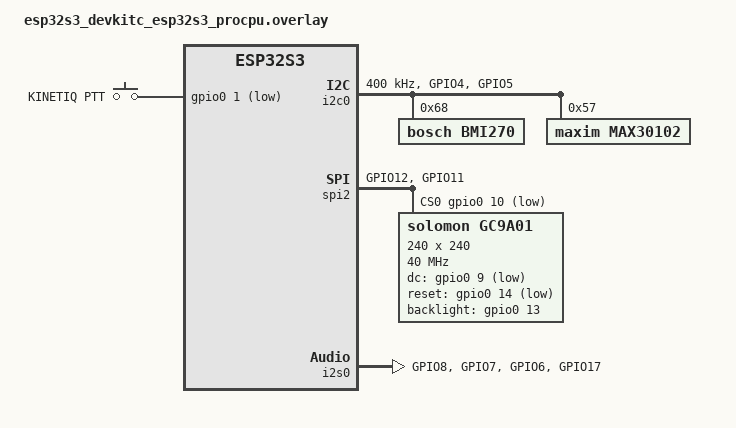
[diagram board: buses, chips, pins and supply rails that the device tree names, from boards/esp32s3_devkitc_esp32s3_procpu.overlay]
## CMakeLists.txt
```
cmake_minimum_required(VERSION 3.20.0)
find_package(Zephyr REQUIRED HINTS $ENV{ZEPHYR_BASE})
project(kinetiq_firmware)
target_sources(app PRIVATE src/main.c src/button_fsm.c src/activity_engine.c src/display_engine.c src/ble_transport.c src/sensor_imu.c src/sensor_ppg.c)
```

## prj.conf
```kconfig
# KINETIQ firmware configuration — Zephyr on ESP32-S3-DevKitC-1

# Core kernel + logging (CBPRINTF_FP_SUPPORT is required for the %.2f float
# field in the telemetry JSON emitted by comm_thread).
CONFIG_LOG=y
CONFIG_MULTITHREADING=y
CONFIG_CBPRINTF_FP_SUPPORT=y

# Peripheral drivers used by the wearable sensor suite.
CONFIG_GPIO=y
CONFIG_I2C=y
CONFIG_SPI=y

# BLE NUS telemetry (peripheral streaming JSON frames to the laptop client).
CONFIG_BT=y # enable the Bluetooth host stack
CONFIG_BT_PERIPHERAL=y # advertise + accept one GATT connection as a peripheral
CONFIG_BT_DEVICE_NAME="KINETIQ" # advertised name the laptop scans for
CONFIG_BT_L2CAP_TX_MTU=252 # allow full-length L2CAP payloads for fewer chunks
CONFIG_BT_BUF_ACL_TX_SIZE=256 # TX ACL buffers sized to the L2CAP MTU above
CONFIG_BT_BUF_ACL_RX_SIZE=256 # RX ACL buffers sized for laptop downlink writes
CONFIG_BT_MAX_CONN=1 # single laptop peer only, keeps RAM use minimal
```

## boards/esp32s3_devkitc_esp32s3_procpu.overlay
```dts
/*
 * KINETIQ — ESP32-S3-DevKitC-1 / ESP32-S3-WROOM-1-N16R8 devicetree overlay
 * Target: ESP32-S3-DevKitC-1 (n16r8), Zephyr `esp32s3_devkitc_n16r8`
 *
 * ---------------------------------------------------------------------------
 * PIN MAP (FROZEN §11.2 freeze)
 * ---------------------------------------------------------------------------
 *   I2C0  (400 kHz, 4k7 external pull-ups, shared bus)
 *     SDA = GPIO4
 *     SCL = GPIO5
 *     BMI270  IMU   @ 0x68  (polled acquisition, no IRQ line)
 *     MAX30102 PPG  @ 0x57  (polled acquisition, no IRQ line)
 *
 *   SPI2  (display bus, 40 MHz)
 *     SCK = GPIO12   (FSPI clock)
 *     MOSI = GPIO11  (FSPI data to panel)
 *     CS  = GPIO10   (active low, via cs-gpios, not pinctrl)
 *     DC  = GPIO9    (active low: command/data select, plain GPIO)
 *     RST = GPIO14   (active low, panel reset, plain GPIO)
 *     BL  = GPIO13   (active high backlight enable, plain GPIO)
 *
 *   I2S0  (future W4 audio pair: INMP441 mic + MAX98357 amp, unused by SW)
 *     BCK   = GPIO8   (bit clock)
 *     WS    = GPIO7   (word select / LR clock)
 *     RX_SD = GPIO6   (mic data in)
 *     TX_SD = GPIO17  (amp data out)
 *
 *   Direct GPIO
 *     KINETIQ PTT button = GPIO1 (active low, internal pull-up, gpio-keys)
 *
 * ---------------------------------------------------------------------------
 * CONSTRAINT AUDIT
 * ---------------------------------------------------------------------------
 *   Constraint audit: pins used are 1, 4, 5, 6, 7, 8, 9, 10, 11, 12,
 *   13, 14, 17 - none are strapping (0, 3, 45, 46), USB (19, 20),
 *   flash/PSRAM (26 to 32), or octal (33 to 37).
 *   Freed by this remap: 15, 16, 21, 47 (GPIO4/5 reassigned from INT to I2C).
 *   NOTE: differs from FINAL_BREAKDOWN.md §11.2 prose where the prose still
 *   shows the older draft pins; this freeze section is authoritative.
 * ---------------------------------------------------------------------------
 */

/* I2C0 pinmux: SDA = GPIO4, SCL = GPIO5, open-drain with internal pull-up
 * enabled in addition to the 4k7 discrete pull-ups on the shared bus.
 */
&pinctrl {
	i2c0_default: i2c0_default {
		group-index = <0>;
		drive-open-drain;
		bias-pull-up;
		pins = "GPIO4", "GPIO5";
	};

	i2c0_sleep: i2c0_sleep {
		group-index = <0>;
		drive-open-drain;
		bias-pull-up;
		lpsr-capable;
		sleep-pin-in-suspend;
		pins = "GPIO4", "GPIO5";
	};

	/* SPI2 pinmux: hardware SPI pins only, SCK(GPIO12), MOSI(GPIO11).
	 * CS(GPIO10) is handled by cs-gpios, DC/RST/BL are plain GPIOs, so
	 * they stay out of pinctrl.
	 */
	spi2_default: spi2_default {
		group-index = <1>;
		slew-rate;
		pins = "GPIO12", "GPIO11";
	};

	spi2_sleep: spi2_sleep {
		group-index = <1>;
		lpsr-capable;
		sleep-pin-in-suspend;
		pins = "GPIO12", "GPIO11";
	};

	/* I2S0 pinmux: BCK(GPIO8), WS(GPIO7), RX_SD(GPIO6, mic data in),
	 * TX_SD(GPIO17, amp data out). Reserved for the W4 audio pair;
	 * no software thread uses I2S yet.
	 */
	i2s0_default: i2s0_default {
		group-index = <2>;
		pins = "GPIO8", "GPIO7", "GPIO6", "GPIO17";
	};

	i2s0_sleep: i2s0_sleep {
		group-index = <2>;
		lpsr-capable;
		sleep-pin-in-suspend;
		pins = "GPIO8", "GPIO7", "GPIO6", "GPIO17";
	};
};

/* I2C0 controller: SDA = GPIO4, SCL = GPIO5 @ 400 kHz (I2C_BITRATE_FAST). */
&i2c0 {
	status = "okay";
	clock-frequency = <I2C_BITRATE_FAST>;

	pinctrl-0 = <&i2c0_default>;
	pinctrl-1 = <&i2c0_sleep>;
	pinctrl-names = "default", "sleep";

	/* Bosch BMI270 6-axis IMU (accel + gyro), 400 kHz shared bus.
	 * Polled acquisition: GPIO4 is now SDA so there is no interrupt line.
	 */
	bmi270: bmi270@68 {
		compatible = "bosch,bmi270";
		reg = <0x68>;
		label = "BMI270";
	};

	/* Maxim MAX30102 dual-LED PPG (red + IR), still-only SpO2 estimate.
	 * Polled acquisition: GPIO5 is now SCL so there is no interrupt line.
	 */
	max30102: max30102@57 {
		compatible = "maxim,max30102";
		reg = <0x57>;
		label = "MAX30102";
	};
};

/* SPI2 controller: SCK = GPIO12, MOSI = GPIO11, CS = GPIO10 @ 40 MHz. */
&spi2 {
	status = "okay";
	clock-frequency = <SPI_CLOCK_DIV2>;
	cs-gpios = <&gpio0 10 GPIO_ACTIVE_LOW>;

	pinctrl-0 = <&spi2_default>;
	pinctrl-1 = <&spi2_sleep>;
	pinctrl-names = "default", "sleep";

	/* Solomon Systech GC9A01 240x240 round IPS panel. */
	gc9a01: gc9a01@0 {
		compatible = "solomon,gc9a01";
		reg = <0>;
		spi-max-frequency = <40000000>;

		width = <240>;
		height = <240>;
		round;
		rotate = <0>;

		dc-gpios = <&gpio0 9 GPIO_ACTIVE_LOW>;
		reset-gpios = <&gpio0 14 GPIO_ACTIVE_LOW>;

		/*
		 * Backlight is a plain active-high GPIO on GPIO13, driven
		 * from firmware (display_dim()/display_wake()).
		 */
		backlight-gpios = <&gpio0 13 GPIO_ACTIVE_HIGH>;
	};
};

/* I2S0 controller: BCK = GPIO8, WS = GPIO7, RX_SD = GPIO6, TX_SD = GPIO17.
 * Pinned out for the future W4 INMP441/MAX98357 audio pair; nothing in
 * software configures or streams I2S yet.
 */
&i2s0 {
	status = "okay";

	pinctrl-0 = <&i2s0_default>;
	pinctrl-1 = <&i2s0_sleep>;
	pinctrl-names = "default", "sleep";
};

/* User button on GPIO1 via gpio-keys so GPIO_DT_SPEC_GET on
 * DT_NODELABEL(kinetiq_button) resolves in firmware.
 */
{
	buttons {
		compatible = "gpio-keys";
		kinetiq_button: kinetiq_button {
			gpios = <&gpio0 1 (GPIO_ACTIVE_LOW | GPIO_PULL_UP)>;
			label = "KINETIQ PTT";
		};
	};
};
```

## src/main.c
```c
/*
 * KINETIQ firmware - Zephyr application for the ESP32-S3 wearable.
 *
 * Sense     : imu_thread (100 Hz, BMI270) + ppg_thread (50 Hz, MAX30102)
 * Process   : k_msgq sample bus feeding infer_thread
 * Infer     : activity_engine classifier (REST/WALK/RUN) + exertion + PPG quality gate
 * Communicate: comm_thread (1 Hz) emitting the locked telemetry JSON
 *             over BLE NUS notify (newline-framed) with the UART LOG_INF
 *             line kept as the debug fallback when no peer is connected
 * UI        : button_thread (100 Hz) polling button_fsm for PTT events;
 *             display_engine owns the canonical screen state plus the
 *             240x240 round GC9A01 ASCII-grid preview (short-press cycles it,
 *             infer_thread feeds it telemetry, button long-press drives PTT)
 *
 * Sense HAL  : sensor_imu / sensor_ppg dual-mode wrappers: real BMI270 /
 *             MAX30102 hardware when the devicetree nodes probe, otherwise
 *             the synthetic fallback generators (same waveforms as before).
 */

#include <zephyr/kernel.h>
#include <zephyr/devicetree.h>
#include <zephyr/drivers/gpio.h>
#include <zephyr/sys/printk.h>
#include <zephyr/logging/log.h>
#include <zephyr/sys/util.h>
#include <math.h>
#include <stdio.h>
#include <string.h>

#include "sensor_packet.h"
#include "sensor_imu.h"
#include "sensor_ppg.h"
#include "button_fsm.h"
#include "activity_engine.h"
#include "display_engine.h"
#include "ble_transport.h"

LOG_MODULE_REGISTER(kinetiq, LOG_LEVEL_INF);

#define PI_F 3.14159265358979323846f

/* Fixed epoch base so the emitted "timestamp" is a unix-like wall clock value. */
#define KINETIQ_EPOCH_BASE_S 1750000000LL

/* Sample rates (ms). */
#define IMU_PERIOD_MS 10
#define PPG_PERIOD_MS 20
#define COMM_PERIOD_MS 1000

/* Thread priorities - distinct, sensor capture highest, comm lowest. */
#define IMU_PRIO 5
#define PPG_PRIO 6
#define INFER_PRIO 7
#define BUTTON_PRIO 8
#define COMM_PRIO 9

#define THREAD_STACK_SIZE 2048
#define BUTTON_STACK_SIZE 1024
#define BUTTON_PERIOD_MS 10

/* Synthetic PPG waveform operating point (raw MAX30102-ish ADC counts). */
#define PPG_RED_DC 40000.0f
#define PPG_RED_AC 9000.0f
#define PPG_IR_DC 38000.0f
#define PPG_IR_AC 6500.0f
#define PPG_NOMINAL_BPM 72.0f

/* PPG quality gate thresholds (photodiode signal floor). */
#define PPG_RED_FLOOR 39500.0f
#define PPG_IR_FLOOR 37500.0f

/* Step detector refractory window. */
#define STEP_REFRACTORY_MS 250

struct shared_state {
	int64_t timestamp_ms;
	uint16_t heart_rate;
	uint16_t spo2;
	uint32_t steps;
	uint8_t quality;
	char activity[12];
	char exertion[12];
	float motion_intensity;
};

K_MSGQ_DEFINE(sensor_msgq, sizeof(sensor_packet_t), 10, 4);
K_MUTEX_DEFINE(state_mutex);

static struct shared_state current_state = {
	.timestamp_ms = 0,
	.heart_rate = 72,
	.spo2 = 97,
	.steps = 0,
	.quality = 0,
	.activity = "REST",
	.exertion = "REST",
	.motion_intensity = 0.0f,
};

static atomic_t g_steps = ATOMIC_INIT(0);
static atomic_t g_dropped_packets = ATOMIC_INIT(0);
static atomic_t g_processed_packets = ATOMIC_INIT(0);

/* Cadence detector state (imu_thread only, plus read-only snapshots). */
static float g_vert_filtered;
static float g_prev_slope;
static int64_t g_last_step_ms;

static void imu_thread(void *a, void *b, void *c);
static void ppg_thread(void *a, void *b, void *c);
static void infer_thread(void *a, void *b, void *c);
static void comm_thread(void *a, void *b, void *c);
static void button_thread(void *a, void *b, void *c);

K_THREAD_STACK_DEFINE(imu_stack, THREAD_STACK_SIZE);
K_THREAD_STACK_DEFINE(ppg_stack, THREAD_STACK_SIZE);
K_THREAD_STACK_DEFINE(infer_stack, THREAD_STACK_SIZE);
K_THREAD_STACK_DEFINE(comm_stack, THREAD_STACK_SIZE);
K_THREAD_STACK_DEFINE(button_stack, BUTTON_STACK_SIZE);

static struct k_thread imu_tid;
static struct k_thread ppg_tid;
static struct k_thread infer_tid;
static struct k_thread comm_tid;
static struct k_thread button_tid;

static button_fsm_t g_button;
static bool s_ptt_active = false;

static void on_laptop_rx(const uint8_t *data, size_t len)
{
	char excerpt[65];
	size_t shown = len > 64U ? 64U : len;
	size_t i;

	for (i = 0; i < shown; i++) {
		uint8_t ch = data[i];

		excerpt[i] = (ch >= 32U && ch < 127U) ? (char)ch : '.';
	}
	excerpt[shown] = '\0';
	LOG_INF("laptop rx %u byte(s): %s%s (assistant audio/commands landing point, PTT downlink wired in W4)",
		(unsigned int)len, excerpt, len > 64U ? "..." : "");
}

static void queue_packet(sensor_packet_t *pkt)
{
	int rc = k_msgq_put(&sensor_msgq, pkt, K_NO_WAIT);

	if (rc != 0) {
		int dropped = atomic_inc(&g_dropped_packets);

		if ((dropped % 25) == 0) {
			LOG_WRN("sensor_msgq full, dropped %d packet(s) total", dropped);
		}
	}
}

/* Zero-crossing cadence stub: counts one step per upward swing of the
 * vertical acceleration axis with a refractory window and an amplitude gate.
 */
static int cadence_detect(float accel_z, int64_t now_ms)
{
	float slope = accel_z - 9.81f;
	float prev = g_prev_slope;

	g_vert_filtered = (0.85f * g_vert_filtered) + (0.15f * slope);
	g_prev_slope = g_vert_filtered;

	if (g_last_step_ms == 0) {
		g_last_step_ms = now_ms;
		return 0;
	}

	if (prev <= 0.0f && g_vert_filtered > 0.80f &&
	    (now_ms - g_last_step_ms) >= STEP_REFRACTORY_MS) {
		g_last_step_ms = now_ms;
		return 1;
	}

	return 0;
}

static void imu_thread(void *a, void *b, void *c)
{
	ARG_UNUSED(a);
	ARG_UNUSED(b);
	ARG_UNUSED(c);

	sensor_packet_t pkt;
	float accel[3];
	float gyro[3];

	LOG_INF("imu_thread up: 100 Hz BMI270 stream (%s)",
		sensor_imu_is_hardware_active() ? "hardware" : "synthetic fallback");

	while (1) {
		sensor_imu_fetch(accel, gyro);

		int64_t now_ms = k_uptime_get();

		if (cadence_detect(accel[2], now_ms) != 0) {
			atomic_inc(&g_steps);
		}

		memset(&pkt, 0, sizeof(pkt));
		pkt.timestamp_ms = now_ms;
		pkt.accel_x = accel[0];
		pkt.accel_y = accel[1];
		pkt.accel_z = accel[2];
		pkt.gyro_x = gyro[0];
		pkt.gyro_y = gyro[1];
		pkt.gyro_z = gyro[2];
		pkt.steps = (uint32_t)atomic_get(&g_steps);
		pkt.quality = 0;
		pkt.activity = NULL;
		pkt.exertion = NULL;

		queue_packet(&pkt);

		k_msleep(IMU_PERIOD_MS);
	}
}

static void ppg_thread(void *a, void *b, void *c)
{
	ARG_UNUSED(a);
	ARG_UNUSED(b);
	ARG_UNUSED(c);

	sensor_packet_t pkt;

	LOG_INF("ppg_thread up: 50 Hz MAX30102 stream (%s)",
		sensor_ppg_is_hardware_active() ? "hardware" : "synthetic fallback");

	while (1) {
		uint32_t raw_red = 0;
		uint32_t raw_ir = 0;
		uint8_t hr = 72;
		uint8_t spo2 = 97;
		bool quality = true;

		sensor_ppg_fetch(&raw_red, &raw_ir, &hr, &spo2, &quality);
		/* Telemetry schema carries no SpO2-from-PPG field yet; the
		 * infer/comm path keeps the constant 97. Drop is explicit. */
		(void)spo2;

		/* ppg_red is uint16_t: raw counts can exceed 65535, clamp. */
		uint16_t pkt_red = raw_red > 65535U ? 65535U : (uint16_t)raw_red;

		memset(&pkt, 0, sizeof(pkt));
		pkt.timestamp_ms = k_uptime_get();
		pkt.ppg_red = pkt_red;
		pkt.ppg_ir = raw_ir;
		pkt.heart_rate = (uint16_t)hr;
		pkt.steps = (uint32_t)atomic_get(&g_steps);
		pkt.quality = quality ? 1 : 0;
		pkt.activity = NULL;
		pkt.exertion = NULL;

		queue_packet(&pkt);

		k_msleep(PPG_PERIOD_MS);
	}
}

static char s_display_grid[DISPLAY_GRID_MIN_LEN];

/* Compact preview policy: one LOG_INF summary per event plus the full
 * 240-row grid at LOG_DBG in 30-row chunks, so frequent telemetry updates
 * stay readable while debug sessions still get every cell. The grid buffer
 * is file-scope BSS (57 KB), never thread stack. Chunk logging borrows a
 * save/restore NUL trick on the grid itself to avoid a second big buffer.
 */
static void log_display_preview(const char *why)
{
	struct shared_state snap;

	display_engine_render_ascii(s_display_grid, sizeof(s_display_grid));

	k_mutex_lock(&state_mutex, K_FOREVER);
	snap = current_state;
	k_mutex_unlock(&state_mutex);

	LOG_INF("display preview (%s): screen=%s ptt=%d hr=%u steps=%u act=%s ex=%s qual=%s",
		why,
		display_engine_screen_name(display_engine_current_screen()),
		(int)s_ptt_active,
		(unsigned int)snap.heart_rate,
		(unsigned int)snap.steps,
		snap.activity,
		snap.exertion,
		(snap.quality != 0U) ? "good" : "poor");

	for (int base = 0; base < DISPLAY_HEIGHT; base += 30) {
		size_t off = (size_t)base * ((size_t)DISPLAY_WIDTH + 1U);
		size_t len = (size_t)30 * ((size_t)DISPLAY_WIDTH + 1U);
		char saved;

		if (off + len > sizeof(s_display_grid) - 1U) {
			len = sizeof(s_display_grid) - 1U - off;
		}

		saved = s_display_grid[off + len];
		s_display_grid[off + len] = '\0';
		LOG_DBG("%s", &s_display_grid[off]);
		s_display_grid[off + len] = saved;
	}
}

static void infer_thread(void *a, void *b, void *c)
{
	ARG_UNUSED(a);
	ARG_UNUSED(b);
	ARG_UNUSED(c);

	sensor_packet_t pkt;
	activity_engine_t eng;
	uint16_t last_hr = 72;
	uint8_t last_quality = 0;
	uint32_t last_steps = 0;
	static char prev_activity[12] = "";
	static char prev_exertion[12] = "";

	activity_engine_init(&eng);

	LOG_INF("infer_thread up: rule-based activity/exertion inference");

	while (1) {
		k_msgq_get(&sensor_msgq, &pkt, K_FOREVER);

		if (pkt.ppg_ir != 0U) {
			last_hr = pkt.heart_rate;
			last_quality = (uint8_t)((pkt.ppg_red >= (uint16_t)PPG_RED_FLOOR) &&
						 (pkt.ppg_ir >= (uint32_t)PPG_IR_FLOOR) ? 1 : 0);
		}

		const char *activity = activity_engine_update(&eng, &pkt);
		float intensity = activity_engine_motion_intensity(&eng);
		const char *exertion = activity_engine_exertion(&eng, last_hr, activity);

		last_steps = pkt.steps;
		atomic_inc(&g_processed_packets);

		k_mutex_lock(&state_mutex, K_FOREVER);
		current_state.timestamp_ms = pkt.timestamp_ms;
		current_state.heart_rate = last_hr;
		current_state.spo2 = 97;
		current_state.steps = last_steps;
		current_state.quality = last_quality;
		current_state.motion_intensity = intensity;
		snprintk(current_state.activity, sizeof(current_state.activity), "%s", activity);
		snprintk(current_state.exertion, sizeof(current_state.exertion), "%s", exertion);
		k_mutex_unlock(&state_mutex);

		/* Feed the display engine outside the mutex (it owns its state).
		 * Called for every packet: PPG packets carry hr/quality, IMU and
		 * PPG packets both carry the running step count. SpO2 is the
		 * constant 97 per the current schema; the setter call keeps the
		 * wiring real for when the schema gains a SpO2 field. */
		display_engine_update_telemetry(&pkt, activity, exertion);
		display_engine_set_spo2(97);

		{
			int64_t up_ms = k_uptime_get();
			long sod = (long)((KINETIQ_EPOCH_BASE_S + (up_ms / 1000)) % 86400LL);

			display_engine_set_time((int)(sod / 3600), (int)((sod / 60) % 60));
		}

		if (strcmp(prev_activity, activity) != 0 ||
		    strcmp(prev_exertion, exertion) != 0) {
			snprintk(prev_activity, sizeof(prev_activity), "%s", activity);
			snprintk(prev_exertion, sizeof(prev_exertion), "%s", exertion);
			log_display_preview("infer_change");
		}
	}
}

#if DT_NODE_HAS_STATUS(DT_NODELABEL(kinetiq_button), okay)
#define KINETIQ_HAS_BUTTON_NODE 1
static const struct gpio_dt_spec kinetiq_btn_spec =
	GPIO_DT_SPEC_GET(DT_NODELABEL(kinetiq_button), gpios);
#else
#define KINETIQ_HAS_BUTTON_NODE 0
#endif

static void button_thread(void *a, void *b, void *c)
{
	ARG_UNUSED(a);
	ARG_UNUSED(b);
	ARG_UNUSED(c);

	LOG_INF("button_thread up: 100 Hz polled button FSM (%s)",
#if KINETIQ_HAS_BUTTON_NODE
		"GPIO1 gpio-keys"
#else
		"simulated stub"
#endif
		);

	while (1) {
		bool raw_level = true;

#if KINETIQ_HAS_BUTTON_NODE
		/* gpio_pin_get_dt returns the LOGICAL level: 1 = pressed for
		 * an ACTIVE_LOW button, 0 = released. button_fsm wants the
		 * RAW electrical level: true = idle/high, false = pressed.
		 * Hence raw_level = (logical == 0). Pull-up idle rests high.
		 */
		if (gpio_is_ready_dt(&kinetiq_btn_spec)) {
			int v = gpio_pin_get_dt(&kinetiq_btn_spec);

			if (v >= 0) {
				raw_level = (v == 0);
			}
		}
		/* Node missing or GPIO not ready falls through to the
		 * simulated released level (true), same as the old stub. */
#else
		/* Raw GPIO read replaces this constant when the devicetree button binding lands. */
#endif
		button_event_t ev = button_fsm_tick(&g_button, raw_level, k_uptime_get());

		if (ev == BUTTON_EVENT_SHORT_PRESS) {
			/* button_fsm keeps its own internal screen index for FSM
			 * unit-test parity, but display_engine is the canonical UI
			 * state, so short-press cycles the display engine here and
			 * button_fsm_on_short_press() is intentionally not called. */
			display_engine_cycle_screen();

			LOG_INF("UI screen -> %s",
				display_engine_screen_name(display_engine_current_screen()));
			log_display_preview("short_press");
		} else if (ev == BUTTON_EVENT_LONG_PRESS_START) {
			display_engine_set_ptt_active(true);
			s_ptt_active = true;
			LOG_INF("PTT capture armed");
			log_display_preview("ptt_start");
		} else if (ev == BUTTON_EVENT_LONG_PRESS_END) {
			display_engine_set_ptt_active(false);
			s_ptt_active = false;
			LOG_INF("PTT capture released");
			log_display_preview("ptt_end");
		}

		k_msleep(BUTTON_PERIOD_MS);
	}
}

static void comm_thread(void *a, void *b, void *c)
{
	ARG_UNUSED(a);
	ARG_UNUSED(b);
	ARG_UNUSED(c);

	char json_buf[224];
	struct shared_state snap;

	LOG_INF("comm_thread up: 1 Hz telemetry JSON");

	while (1) {
		k_mutex_lock(&state_mutex, K_FOREVER);
		snap = current_state;
		k_mutex_unlock(&state_mutex);

		long timestamp_s = (long)(KINETIQ_EPOCH_BASE_S +
					 (k_uptime_get() / 1000));

		snprintf(json_buf, sizeof(json_buf),
			 "{\"timestamp\":%ld,\"heart_rate\":%u,\"spo2\":%u,"
			 "\"activity\":\"%s\",\"motion_intensity\":%.2f,"
			 "\"exertion\":\"%s\",\"steps\":%u,\"ppg_quality\":\"%s\"}",
			 timestamp_s,
			 (unsigned int)snap.heart_rate,
			 (unsigned int)snap.spo2,
			 snap.activity,
			 (double)snap.motion_intensity,
			 snap.exertion,
			 (unsigned int)snap.steps,
			 (snap.quality != 0U) ? "good" : "poor");

		LOG_INF("%s", json_buf);

		if (ble_transport_is_connected()) {
			int brc = ble_transport_send_telemetry(json_buf, strlen(json_buf));

			if (brc < 0) {
				LOG_WRN("BLE tx failed: %d", brc);
			}
		} else {
			LOG_DBG("BLE not connected, UART log only");
		}

		k_msleep(COMM_PERIOD_MS);
	}
}

int main(void)
{
	LOG_INF("KINETIQ firmware boot - Zephyr on ESP32-S3 (kernel %s)", KERNEL_VERSION_STRING);
	LOG_INF("I2C0 400 kHz: SDA=GPIO4 SCL=GPIO5, BMI270@0x68 (imu_thread 100 Hz), MAX30102@0x57 (ppg_thread 50 Hz)");
	LOG_INF("SPI2 40 MHz: GC9A01 (SCK=GPIO12, MOSI=GPIO11, CS=GPIO10, DC=GPIO9, RST=GPIO14, BL=GPIO13)");
	LOG_INF("I2S0 reserved W4 audio: BCK=GPIO8 WS=GPIO7 RX_SD=GPIO6 TX_SD=GPIO17 (no SW use yet)");
#if KINETIQ_HAS_BUTTON_NODE
	LOG_INF("Button: KINETIQ PTT on GPIO1 (gpio-keys, active-low pull-up)");
#else
	LOG_INF("Button: simulated stub (no gpio-keys node)");
#endif
	LOG_INF("BLE NUS telemetry: name KINETIQ, newline-framed JSON notify, UART log fallback");
	LOG_INF("Starting sensor, inference, display, button and communication threads");

	sensor_imu_init();
	sensor_ppg_init();
	LOG_INF("IMU: %s",
		sensor_imu_is_hardware_active() ? "BMI270 hardware" : "synthetic fallback");
	LOG_INF("PPG: %s",
		sensor_ppg_is_hardware_active() ? "MAX30102 hardware" : "synthetic fallback");

#if KINETIQ_HAS_BUTTON_NODE
	if (gpio_is_ready_dt(&kinetiq_btn_spec)) {
		int brc = gpio_pin_configure_dt(&kinetiq_btn_spec, GPIO_INPUT);

		if (brc != 0) {
			LOG_WRN("PTT button GPIO config failed (%d), simulated reads", brc);
		}
	}
#endif

	button_fsm_init(&g_button, true, k_uptime_get());
	display_engine_init();
	LOG_INF("display_engine up: HOME screen, 240x240 round GC9A01 grid");

	ble_transport_register_rx_callback(on_laptop_rx);
	{
		int rc = ble_transport_init();

		if (rc != 0) {
			LOG_WRN("BLE init failed (%d), UART telemetry only", rc);
		} else {
			LOG_INF("BLE up: name KINETIQ, NUS advertising");
		}
	}

	k_thread_create(&imu_tid, imu_stack, THREAD_STACK_SIZE,
			imu_thread, NULL, NULL, NULL, IMU_PRIO, 0, K_NO_WAIT);
	k_thread_create(&ppg_tid, ppg_stack, THREAD_STACK_SIZE,
			ppg_thread, NULL, NULL, NULL, PPG_PRIO, 0, K_NO_WAIT);
	k_thread_create(&infer_tid, infer_stack, THREAD_STACK_SIZE,
			infer_thread, NULL, NULL, NULL, INFER_PRIO, 0, K_NO_WAIT);
	k_thread_create(&comm_tid, comm_stack, THREAD_STACK_SIZE,
			comm_thread, NULL, NULL, NULL, COMM_PRIO, 0, K_NO_WAIT);
	k_thread_create(&button_tid, button_stack, BUTTON_STACK_SIZE,
			button_thread, NULL, NULL, NULL, BUTTON_PRIO, 0, K_NO_WAIT);

	k_thread_name_set(&imu_tid, "imu_thread");
	k_thread_name_set(&ppg_tid, "ppg_thread");
	k_thread_name_set(&infer_tid, "infer_thread");
	k_thread_name_set(&comm_tid, "comm_thread");
	k_thread_name_set(&button_tid, "button_thread");

	return 0;
}
```

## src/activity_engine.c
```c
/*
 * KINETIQ firmware - activity_engine ring-buffer variance classifier.
 *
 * O(1) variance via running sum / sum-of-squares; the sums use double
 * precision and the result is floored at zero to absorb float
 * cancellation. Intensity is EMA-smoothed (0.9 / 0.1) like the legacy
 * energy path it replaces. No RTOS dependencies.
 */
#include "activity_engine.h"

#include <math.h>
#include <stddef.h>
#include <string.h>

#define ACTIVITY_G_NORM 9.81f
#define ACTIVITY_WINDOW_MASK (ACTIVITY_WINDOW_LEN - 1)

static bool packet_has_accel(const sensor_packet_t *pkt)
{
	return (pkt->accel_x != 0.0f) || (pkt->accel_y != 0.0f) ||
	       (pkt->accel_z != 0.0f) || (pkt->gyro_x != 0.0f) ||
	       (pkt->gyro_y != 0.0f) || (pkt->gyro_z != 0.0f);
}

void activity_engine_init(activity_engine_t *eng)
{
	activity_engine_reset(eng);
}

void activity_engine_reset(activity_engine_t *eng)
{
	uint32_t i;

	if (eng == NULL) {
		return;
	}

	for (i = 0U; i < (uint32_t)ACTIVITY_WINDOW_LEN; i++) {
		eng->window[i] = 0.0f;
	}

	eng->head = 0U;
	eng->count = 0U;
	eng->sum = 0.0;
	eng->sumsq = 0.0;
	eng->last_hr = 0U;
	eng->intensity_ema = 0.0f;
}

float activity_engine_variance(const activity_engine_t *eng)
{
	double mean;
	double var;

	if ((eng == NULL) || (eng->count < 2U)) {
		return 0.0f;
	}

	mean = eng->sum / (double)eng->count;
	var = (eng->sumsq / (double)eng->count) - (mean * mean);

	if (var < 0.0) {
		var = 0.0;
	}

	return (float)var;
}

const char *activity_engine_update(activity_engine_t *eng, const sensor_packet_t *pkt)
{
	float mag;
	float raw;
	float var;

	if ((eng == NULL) || (pkt == NULL)) {
		return "REST";
	}

	if ((pkt->ppg_ir != 0U) && (pkt->heart_rate != 0U)) {
		eng->last_hr = pkt->heart_rate;
	}

	if (packet_has_accel(pkt)) {
		double dmag;

		mag = sqrtf((pkt->accel_x * pkt->accel_x) +
			    (pkt->accel_y * pkt->accel_y) +
			    (pkt->accel_z * pkt->accel_z)) / ACTIVITY_G_NORM;
		dmag = (double)mag;

		if (eng->count >= (uint32_t)ACTIVITY_WINDOW_LEN) {
			double evicted = (double)eng->window[eng->head];

			eng->sum -= evicted;
			eng->sumsq -= evicted * evicted;
		} else {
			eng->count++;
		}

		eng->window[eng->head] = mag;
		eng->head = (eng->head + 1U) & ACTIVITY_WINDOW_MASK;
		eng->sum += dmag;
		eng->sumsq += dmag * dmag;

		raw = sqrtf(activity_engine_variance(eng)) / ACTIVITY_INTENSITY_FS;
		if (raw < 0.0f) {
			raw = 0.0f;
		}
		if (raw > 1.0f) {
			raw = 1.0f;
		}
		eng->intensity_ema = (0.9f * eng->intensity_ema) + (0.1f * raw);
	}

	var = activity_engine_variance(eng);

	if (var < ACTIVITY_REST_VAR_MAX) {
		return "REST";
	}
	if (var < ACTIVITY_WALK_VAR_MAX) {
		return "WALK";
	}

	return "RUN";
}

float activity_engine_motion_intensity(const activity_engine_t *eng)
{
	float out;

	if (eng == NULL) {
		return 0.0f;
	}

	out = eng->intensity_ema;
	if (out < 0.0f) {
		out = 0.0f;
	}
	if (out > 1.0f) {
		out = 1.0f;
	}

	return out;
}

const char *activity_engine_exertion(const activity_engine_t *eng, uint16_t heart_rate,
				     const char *activity)
{
	float intensity = 0.0f;

	if (eng != NULL) {
		intensity = eng->intensity_ema;
	}

	if ((activity != NULL) && (strcmp(activity, "REST") == 0) &&
	    (heart_rate < (uint16_t)HR_REST_MAX)) {
		return "REST";
	}
	if ((intensity < ACTIVITY_LOW_BAND_MAX) && (heart_rate < (uint16_t)HR_LIGHT_MAX)) {
		return "LIGHT";
	}
	if (heart_rate < (uint16_t)HR_MODERATE_MAX) {
		return "MODERATE";
	}

	return "HIGH";
}
```

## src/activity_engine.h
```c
/*
 * KINETIQ firmware - activity and exertion classifier interface.
 *
 * Sliding 1 s window of accelerometer magnitudes. The infer path runs
 * at the ~100 Hz IMU rate, so the 128-sample ring (power of two for
 * cheap masking) covers at least one second of IMU-rate samples.
 *
 * Unit convention: input arrives in m/s^2 and is normalized to g
 * inside (mag_g = |a| / 9.81); variance is computed on the g-normalized
 * magnitude, so thresholds are in g^2: variance < 0.05 -> REST,
 * 0.05 <= variance < 0.35 -> WALK, variance >= 0.35 -> RUN.
 *
 * Intensity maps sqrt(variance) through a 1.0 full-scale with clamping,
 * giving REST < 0.23, WALK 0.23-0.59, RUN > 0.59: distinct bands that
 * keep the exertion LOW-band gate (intensity < 0.35) inside WALK.
 *
 * IMU-vs-PPG discriminator: main.c memsets every packet, leaving all
 * accel/gyro fields zeroed on PPG packets, so any nonzero accel/gyro
 * component marks a packet as carrying accelerometer data.
 */
#ifndef ACTIVITY_ENGINE_H
#define ACTIVITY_ENGINE_H

#include <stdint.h>
#include <stdbool.h>

#include "sensor_packet.h"

#define ACTIVITY_WINDOW_LEN 128

#define ACTIVITY_REST_VAR_MAX 0.05f
#define ACTIVITY_WALK_VAR_MAX 0.35f

#define ACTIVITY_INTENSITY_FS 1.0f
#define ACTIVITY_LOW_BAND_MAX 0.35f

#define HR_REST_MAX 80
#define HR_LIGHT_MAX 100
#define HR_MODERATE_MAX 130

typedef struct {
	float window[ACTIVITY_WINDOW_LEN];
	uint32_t head;
	uint32_t count;
	double sum;
	double sumsq;
	uint16_t last_hr;
	float intensity_ema;
} activity_engine_t;

void activity_engine_init(activity_engine_t *eng);
void activity_engine_reset(activity_engine_t *eng);
const char *activity_engine_update(activity_engine_t *eng, const sensor_packet_t *pkt);
float activity_engine_variance(const activity_engine_t *eng);
float activity_engine_motion_intensity(const activity_engine_t *eng);
const char *activity_engine_exertion(const activity_engine_t *eng, uint16_t heart_rate,
				     const char *activity);

#endif /* ACTIVITY_ENGINE_H */
```

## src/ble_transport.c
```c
/*
 * KINETIQ firmware - BLE NUS-style transport implementation.
 *
 * Zephyr 4.2-era API usage: bt_enable(NULL) synchronous bring-up,
 * BT_CONN_CB_DEFINE static callback block, BT_GATT_SERVICE_DEFINE with
 * BT_UUID_128 characteristics, bt_le_adv_start with BT_LE_ADV_CONN
 * (undirected connectable; see header for the directed-advertising note),
 * per-chunk bt_gatt_notify on the stored TX value attribute, effective MTU
 * via bt_gatt_get_mtu with a 23-3=20 fallback. CCCD tracked in the TX path:
 * a notify with indications disabled errors out and is counted, never spun on.
 *
 * Byte order: BT_UUID_128_ENCODE takes the UUID in display order and stores
 * little-endian on the wire. NUS service 6E400001-B5A3-F393-E0A9-E50E24DCCA9E
 * encodes to LE bytes 9E CA DC 24 0E E5 A9 E0 93 F3 A3 B5 01 00 40 6E; the AD
 * UUID128_ALL array below uses that same order, matching ble_client.py.
 */

#if defined(__ZEPHYR__)

#include <zephyr/kernel.h>
#include <zephyr/logging/log.h>
#include <zephyr/sys/atomic.h>
#include <zephyr/sys/util.h>
#include <zephyr/bluetooth/bluetooth.h>
#include <zephyr/bluetooth/conn.h>
#include <zephyr/bluetooth/gatt.h>
#include <zephyr/bluetooth/uuid.h>

#include <string.h>

#include "ble_transport.h"

LOG_MODULE_REGISTER(ble_transport, LOG_LEVEL_INF);

#define BLE_TX_CHUNK_FALLBACK 20U

static atomic_t s_connected = ATOMIC_INIT(0);
static struct bt_conn *s_conn;
static atomic_t s_tx_count = ATOMIC_INIT(0);
static atomic_t s_tx_dropped = ATOMIC_INIT(0);
static atomic_t s_notify_enabled = ATOMIC_INIT(0);
static bool s_init_done;
static void (*s_rx_cb)(const uint8_t *data, size_t len);

static void on_connected(struct bt_conn *conn, uint8_t err)
{
	char addr[BT_ADDR_LE_STR_LEN];

	bt_addr_le_to_str(bt_conn_get_dst(conn), addr, sizeof(addr));
	if (err != 0U) {
		LOG_WRN("BLE connect failed %u from %s", err, addr);
		return;
	}

	if (s_conn != NULL) {
		bt_conn_unref(s_conn);
	}
	s_conn = bt_conn_ref(conn);
	atomic_set(&s_connected, 1);
	LOG_INF("BLE connected: %s", addr);
}

static void on_disconnected(struct bt_conn *conn, uint8_t reason)
{
	char addr[BT_ADDR_LE_STR_LEN];

	ARG_UNUSED(conn);

	bt_addr_le_to_str(bt_conn_get_dst(conn), addr, sizeof(addr));
	if (s_conn != NULL) {
		bt_conn_unref(s_conn);
		s_conn = NULL;
	}
	atomic_set(&s_connected, 0);
	atomic_set(&s_notify_enabled, 0);
	LOG_INF("BLE disconnected: %s (reason %u)", addr, reason);
}

BT_CONN_CB_DEFINE(conn_callbacks) = {
	.connected = on_connected,
	.disconnected = on_disconnected,
};

static ssize_t nus_rx_write(struct bt_conn *conn, const struct bt_gatt_attr *attr,
			    const void *buf, uint16_t len, uint16_t offset, uint8_t flags)
{
	ARG_UNUSED(conn);
	ARG_UNUSED(attr);
	ARG_UNUSED(offset);
	ARG_UNUSED(flags);

	if (s_rx_cb != NULL && len > 0U) {
		s_rx_cb((const uint8_t *)buf, (size_t)len);
	}

	return (ssize_t)len;
}

static ssize_t nus_rx_read(struct bt_conn *conn, const struct bt_gatt_attr *attr,
			   void *buf, uint16_t len, uint16_t offset)
{
	ARG_UNUSED(conn);
	ARG_UNUSED(attr);
	ARG_UNUSED(buf);
	ARG_UNUSED(len);
	ARG_UNUSED(offset);

	return -ENOTSUP;
}

static void nus_tx_ccc_changed(const struct bt_gatt_attr *attr, uint16_t value)
{
	ARG_UNUSED(attr);

	atomic_set(&s_notify_enabled, (value & BT_GATT_CCC_NOTIFY) != 0U ? 1 : 0);
	LOG_DBG("BLE TX notify %s", atomic_get(&s_notify_enabled) ? "on" : "off");
}

BT_GATT_SERVICE_DEFINE(nus_service,
	BT_GATT_PRIMARY_SERVICE(BT_UUID_128_ENCODE(0x6E400001, 0xB5A3, 0xF393,
						   0xE0A9, 0xE50E24DCCA9E)),
	BT_GATT_CHARACTERISTIC(BT_UUID_128_ENCODE(0x6E400003, 0xB5A3, 0xF393,
						  0xE0A9, 0xE50E24DCCA9E),
			       BT_GATT_CHRC_NOTIFY, BT_GATT_PERM_READ,
			       NULL, NULL, NULL),
	BT_GATT_CCC(nus_tx_ccc_changed, BT_GATT_PERM_WRITE),
	BT_GATT_CHARACTERISTIC(BT_UUID_128_ENCODE(0x6E400002, 0xB5A3, 0xF393,
						  0xE0A9, 0xE50E24DCCA9E),
			       BT_GATT_CHRC_WRITE | BT_GATT_CHRC_WRITE_WITHOUT_RESP,
			       BT_GATT_PERM_WRITE,
			       nus_rx_read, nus_rx_write, NULL),
);

#define NUS_TX_VALUE_ATTR_INDEX 2U

static const struct bt_data ad_data[] = {
	BT_DATA_BYTES(BT_DATA_FLAGS, (BT_LE_AD_GENERAL | BT_LE_AD_LIMITED)),
	BT_DATA_BYTES(BT_DATA_UUID128_ALL,
		      0x9E, 0xCA, 0xDC, 0x24, 0x0E, 0xE5, 0xA9, 0xE0,
		      0x93, 0xF3, 0xA3, 0xB5, 0x01, 0x00, 0x40, 0x6E),
};

static const struct bt_data sd_data[] = {
	BT_DATA(BT_DATA_NAME_COMPLETE, BLE_DEVICE_NAME, sizeof(BLE_DEVICE_NAME) - 1U),
	BT_DATA_BYTES(BT_DATA_UUID128_ALL,
		      0x9E, 0xCA, 0xDC, 0x24, 0x0E, 0xE5, 0xA9, 0xE0,
		      0x93, 0xF3, 0xA3, 0xB5, 0x01, 0x00, 0x40, 0x6E),
};

int ble_transport_init(void)
{
	int rc;

	if (s_init_done) {
		return 0;
	}

	atomic_set(&s_connected, 0);
	atomic_set(&s_tx_count, 0);
	atomic_set(&s_tx_dropped, 0);
	atomic_set(&s_notify_enabled, 0);

	rc = bt_enable(NULL);
	if (rc != 0) {
		LOG_WRN("BLE bt_enable failed: %d", rc);
		return rc;
	}

	rc = bt_le_adv_start(BT_LE_ADV_CONN, ad_data, ARRAY_SIZE(ad_data),
			     sd_data, ARRAY_SIZE(sd_data));
	if (rc != 0) {
		LOG_WRN("BLE advertising start failed: %d", rc);
		return rc;
	}

	s_init_done = true;
	LOG_INF("BLE up: name %s, NUS advertising", BLE_DEVICE_NAME);

	return 0;
}

bool ble_transport_is_connected(void)
{
	return atomic_get(&s_connected) != 0;
}

static int notify_chunk(const uint8_t *data, size_t chunk_len)
{
	const struct bt_gatt_attr *attr;
	uint16_t mtu;
	int rc;

	if (s_conn == NULL) {
		return -ENOTCONN;
	}

	mtu = bt_gatt_get_mtu(s_conn);
	if (mtu < 3U) {
		mtu = 23U;
	}
	ARG_UNUSED(mtu);

	attr = &nus_service.attrs[NUS_TX_VALUE_ATTR_INDEX];
	rc = bt_gatt_notify(s_conn, attr, data, (uint16_t)chunk_len);
	if (rc != 0) {
		atomic_inc(&s_tx_dropped);
		if (rc == -ENOMEM || rc == -EAGAIN) {
			k_yield();
			rc = bt_gatt_notify(s_conn, attr, data, (uint16_t)chunk_len);
			if (rc != 0) {
				atomic_inc(&s_tx_dropped);
				LOG_WRN("BLE tx dropped (%d)", rc);
				return rc;
			}
		} else {
			LOG_WRN("BLE tx failed (%d)", rc);
			return rc;
		}
	}

	atomic_inc(&s_tx_count);
	return 0;
}

int ble_transport_send_telemetry(const char *json_str, size_t len)
{
	uint16_t mtu;
	size_t max_chunk;
	size_t off = 0;
	size_t sent = 0;
	uint8_t nl = (uint8_t)'\n';
	int rc;

	if (json_str == NULL) {
		return -EINVAL;
	}
	if (atomic_get(&s_connected) == 0 || s_conn == NULL) {
		return -ENOTCONN;
	}

	mtu = bt_gatt_get_mtu(s_conn);
	if (mtu < 3U + 1U) {
		max_chunk = BLE_TX_CHUNK_FALLBACK;
	} else {
		max_chunk = (size_t)mtu - 3U;
	}

	while (off < len) {
		size_t chunk = len - off;

		if (chunk > max_chunk) {
			chunk = max_chunk;
		}
		rc = notify_chunk((const uint8_t *)json_str + off, chunk);
		if (rc != 0) {
			return rc;
		}
		off += chunk;
		sent += chunk;
	}

	rc = notify_chunk(&nl, 1U);
	if (rc != 0) {
		return rc;
	}
	sent += 1U;

	LOG_DBG("BLE tx frame %u byte(s)", (unsigned int)sent);

	return (int)sent;
}

void ble_transport_register_rx_callback(void (*cb)(const uint8_t *data, size_t len))
{
	s_rx_cb = cb;
}

uint32_t ble_transport_tx_count(void)
{
	return (uint32_t)atomic_get(&s_tx_count);
}

uint32_t ble_transport_tx_dropped(void)
{
	return (uint32_t)atomic_get(&s_tx_dropped);
}

#else /* __ZEPHYR__ */

#include <stdio.h>
#include <string.h>

#include "ble_transport.h"

static int stub_connected;
static uint32_t stub_tx_count;
static uint32_t stub_tx_dropped;
static void (*stub_rx_cb)(const uint8_t *data, size_t len);

int ble_transport_init(void)
{
	stub_tx_count = 0U;
	stub_tx_dropped = 0U;
	fprintf(stderr, "ble_transport stub: no Zephyr, init ok\n");
	return 0;
}

bool ble_transport_is_connected(void)
{
	return stub_connected != 0;
}

int ble_transport_send_telemetry(const char *json_str, size_t len)
{
	if (json_str == NULL) {
		return -22;
	}
	if (!stub_connected) {
		return -107;
	}
	stub_tx_count++;
	fprintf(stderr, "ble_transport stub tx %u byte(s)\n", (unsigned int)(len + 1U));
	return (int)(len + 1U);
}

void ble_transport_register_rx_callback(void (*cb)(const uint8_t *data, size_t len))
{
	stub_rx_cb = cb;
}

uint32_t ble_transport_tx_count(void)
{
	return stub_tx_count;
}

uint32_t ble_transport_tx_dropped(void)
{
	return stub_tx_dropped;
}

#endif /* __ZEPHYR__ */
```

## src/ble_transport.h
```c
/*
 * KINETIQ firmware - BLE NUS-style JSON telemetry transport (watch side).
 *
 * Laptop contract: Nordic-UART-Service layout, one locked-schema JSON object
 * per newline-terminated frame over the TX characteristic (notify), 1 Hz.
 * Matches laptop/receiver/ble_client.py FrameReassembler (newline primary,
 * brace-scanned delimiter-less fallback) and its NUS UUID constants.
 *
 * Thread model: bt_conn callbacks run in the Bluetooth RX / system workqueue
 * context and update the atomic connection flag; ble_transport_send_telemetry
 * is called from comm_thread. The getter stays lock-free via atomic_t.
 * Single-connection assumption: one laptop peer at a time; a new connection
 * replaces the stored reference, a disconnect clears it.
 *
 * Advertising deviation (documented): FINAL_BREAKDOWN mentions "directed
 * advertising", which requires a known peer address and skips first-pair
 * discovery by name. This transport uses BT_LE_ADV_CONN (undirected,
 * connectable) with flags BT_LE_AD_GENERAL | BT_LE_AD_LIMITED plus the
 * complete device name and the 128-bit NUS service UUID in the scan
 * response, so a laptop scanning for name "KINETIQ" or the NUS UUID finds
 * the watch on first pair. Switch to BT_LE_ADV_CONN_DIR once a bonded
 * peer address is stored.
 */

#ifndef BLE_TRANSPORT_H
#define BLE_TRANSPORT_H

#include <stddef.h>
#include <stdint.h>
#include <stdbool.h>

#define BLE_NUS_SERVICE_UUID "6E400001-B5A3-F393-E0A9-E50E24DCCA9E"
#define BLE_NUS_TX_CHAR_UUID "6E400003-B5A3-F393-E0A9-E50E24DCCA9E"
#define BLE_NUS_RX_CHAR_UUID "6E400002-B5A3-F393-E0A9-E50E24DCCA9E"
#define BLE_DEVICE_NAME "KINETIQ"

int ble_transport_init(void);
bool ble_transport_is_connected(void);
int ble_transport_send_telemetry(const char *json_str, size_t len);
void ble_transport_register_rx_callback(void (*cb)(const uint8_t *data, size_t len));
uint32_t ble_transport_tx_count(void);
uint32_t ble_transport_tx_dropped(void);

#endif /* BLE_TRANSPORT_H */
```

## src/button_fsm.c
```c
/*
 * KINETIQ firmware - button_fsm tick/polling implementation.
 *
 * Pure C: no dynamic allocation, all state lives in the caller-owned
 * button_fsm_t, no dependencies beyond stdint/stdbool. Press edge and
 * release edge both pass through the same 25 ms debounce window.
 */
#include "button_fsm.h"

#include <stddef.h>

void button_fsm_init(button_fsm_t *btn, bool initial_raw_level, int64_t now_ms)
{
	if (btn == NULL) {
		return;
	}

	btn->state = BUTTON_STATE_IDLE;
	btn->raw_last = initial_raw_level;
	btn->stable_level = initial_raw_level;
	btn->t_change_ms = now_ms;
	btn->press_start_ms = now_ms;
	btn->long_press_fired = false;
	btn->screen = UI_SCREEN_HOME;
}

button_event_t button_fsm_tick(button_fsm_t *btn, bool raw_level, int64_t now_ms)
{
	if (btn == NULL) {
		return BUTTON_EVENT_NONE;
	}

	switch (btn->state) {
	case BUTTON_STATE_IDLE:
		if (raw_level != btn->stable_level) {
			btn->state = BUTTON_STATE_DEBOUNCING;
			btn->t_change_ms = now_ms;
			btn->raw_last = raw_level;
		}
		break;

	case BUTTON_STATE_DEBOUNCING:
		if (raw_level == btn->stable_level) {
			btn->raw_last = raw_level;
			btn->state = (!btn->stable_level) ?
				BUTTON_STATE_PRESSED : BUTTON_STATE_IDLE;
		} else if (raw_level != btn->raw_last) {
			btn->t_change_ms = now_ms;
			btn->raw_last = raw_level;
		} else if ((now_ms - btn->t_change_ms) >= BUTTON_DEBOUNCE_MS) {
			btn->stable_level = raw_level;
			btn->raw_last = raw_level;
			if (!btn->stable_level) {
				btn->state = BUTTON_STATE_PRESSED;
				btn->press_start_ms = now_ms;
				btn->long_press_fired = false;
			} else {
				btn->state = BUTTON_STATE_IDLE;
				if (btn->long_press_fired) {
					return BUTTON_EVENT_LONG_PRESS_END;
				}
				if ((now_ms - btn->press_start_ms) >= BUTTON_LONG_PRESS_MS) {
					btn->long_press_fired = true;
					return BUTTON_EVENT_LONG_PRESS_END;
				}
				return BUTTON_EVENT_SHORT_PRESS;
			}
		}
		break;

	case BUTTON_STATE_PRESSED:
		if (raw_level != btn->stable_level) {
			btn->state = BUTTON_STATE_DEBOUNCING;
			btn->t_change_ms = now_ms;
			btn->raw_last = raw_level;
		} else if (!btn->long_press_fired &&
			   ((now_ms - btn->press_start_ms) >= BUTTON_LONG_PRESS_MS)) {
			btn->long_press_fired = true;
			return BUTTON_EVENT_LONG_PRESS_START;
		}
		break;

	default:
		btn->state = BUTTON_STATE_IDLE;
		break;
	}

	return BUTTON_EVENT_NONE;
}

ui_screen_t button_fsm_on_short_press(button_fsm_t *btn)
{
	if (btn == NULL) {
		return UI_SCREEN_HOME;
	}

	btn->screen = (ui_screen_t)((btn->screen + 1) % UI_SCREEN_COUNT);

	return btn->screen;
}

button_state_t button_fsm_state(const button_fsm_t *btn)
{
	if (btn == NULL) {
		return BUTTON_STATE_IDLE;
	}

	return btn->state;
}

ui_screen_t button_fsm_screen(const button_fsm_t *btn)
{
	if (btn == NULL) {
		return UI_SCREEN_HOME;
	}

	return btn->screen;
}
```

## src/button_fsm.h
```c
/*
 * KINETIQ firmware - polled software-debounce button state machine.
 *
 * Timing engine for ONE physical GPIO button. Hardware-independent:
 * the application polls button_fsm_tick() with the sampled raw level
 * and a monotonic millisecond timestamp; there are no GPIO driver
 * calls here, so timing transitions stay unit-testable without IRQs.
 *
 * Assumes an active-low button with pull-up: raw level LOW (false) =
 * physically pressed, raw level HIGH (true) = released / idle.
 *
 * One-event-per-tick priority: LONG_PRESS_START beats any release
 * event when both coincide on the same tick.
 */
#ifndef BUTTON_FSM_H
#define BUTTON_FSM_H

#include <stdint.h>
#include <stdbool.h>

typedef enum {
	BUTTON_STATE_IDLE,
	BUTTON_STATE_DEBOUNCING,
	BUTTON_STATE_PRESSED
} button_state_t;

typedef enum {
	BUTTON_EVENT_NONE,
	BUTTON_EVENT_SHORT_PRESS,
	BUTTON_EVENT_LONG_PRESS_START,
	BUTTON_EVENT_LONG_PRESS_END
} button_event_t;

typedef enum {
	UI_SCREEN_HOME,
	UI_SCREEN_ACTIVITY,
	UI_SCREEN_BODY,
	UI_SCREEN_ASSISTANT,
	UI_SCREEN_COUNT
} ui_screen_t;

#define BUTTON_DEBOUNCE_MS 25

#ifndef BUTTON_LONG_PRESS_MS
#define BUTTON_LONG_PRESS_MS 800
#endif

typedef struct {
	button_state_t state;
	bool raw_last;
	bool stable_level;
	int64_t t_change_ms;
	int64_t press_start_ms;
	bool long_press_fired;
	ui_screen_t screen;
} button_fsm_t;

void button_fsm_init(button_fsm_t *btn, bool initial_raw_level, int64_t now_ms);
button_event_t button_fsm_tick(button_fsm_t *btn, bool raw_level, int64_t now_ms);
ui_screen_t button_fsm_on_short_press(button_fsm_t *btn);
button_state_t button_fsm_state(const button_fsm_t *btn);
ui_screen_t button_fsm_screen(const button_fsm_t *btn);

#endif /* BUTTON_FSM_H */
```

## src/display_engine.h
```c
/*
 * KINETIQ firmware - display engine: static render state for the 240x240
 * round GC9A01 over SPI (direct-draw, no LVGL, no framebuffer alloc).
 *
 * Pure C (stdint/stdbool/stddef/string.h/stdio.h only, no Zephyr symbols)
 * so the engine stays portable and unit-testable on the host. Single
 * file-scope instance: one display per wearable.
 *
 * Screen type is NOT redefined here: button_fsm.h owns ui_screen_t /
 * UI_SCREEN_* and this header reuses it, adding spec-friendly aliases
 * (SCREEN_HOME etc.) so only one screen enum exists per translation unit.
 * The display engine owns the canonical current-screen index; button_fsm
 * keeps its own internal index for FSM unit-test parity only.
 *
 * ASCII grid layout (display_engine_render_ascii): 240 rows of 240 cells,
 * LF-terminated, background '.', 1px circle boundary '#' (center 120,120,
 * radius 119, integer dx*dx+dy*dy math, no floats), cells outside the
 * circle blanked to ' ' so the grid looks round. Screen text lines are
 * drawn centered at fixed row bands (70/110/150 for 3-line screens,
 * 100+120 for 2-line ASSISTANT idle, 110 for 1-line RECORDING).
 *
 * Required buffer size is DISPLAY_GRID_MIN_LEN (57841). Render truncates
 * at the last complete row when max_len is smaller, always NUL-terminates,
 * never writes past max_len - 1, never mallocs.
 *
 * Clock: main feeds wall-clock hours/minutes via display_engine_set_time()
 * derived from KINETIQ_EPOCH_BASE_S + k_uptime_get()/1000.
 */
#ifndef DISPLAY_ENGINE_H
#define DISPLAY_ENGINE_H

#include "button_fsm.h"
#include "sensor_packet.h"

#include <stdint.h>
#include <stdbool.h>
#include <stddef.h>

#define DISPLAY_WIDTH 240
#define DISPLAY_HEIGHT 240

#define DISPLAY_CIRCLE_CX 120
#define DISPLAY_CIRCLE_CY 120
#define DISPLAY_CIRCLE_R 119

#define DISPLAY_GRID_MIN_LEN (((DISPLAY_WIDTH) + 1) * (DISPLAY_HEIGHT) + 1)

#define SCREEN_HOME UI_SCREEN_HOME
#define SCREEN_ACTIVITY UI_SCREEN_ACTIVITY
#define SCREEN_BODY UI_SCREEN_BODY
#define SCREEN_ASSISTANT UI_SCREEN_ASSISTANT

#define DISPLAY_QUALITY_LEN 8
#define DISPLAY_LABEL_LEN 16

typedef struct {
	ui_screen_t screen;
	bool ptt_active;
	uint16_t heart_rate;
	uint8_t spo2;
	uint32_t steps;
	char quality[DISPLAY_QUALITY_LEN];
	char activity[DISPLAY_LABEL_LEN];
	char exertion[DISPLAY_LABEL_LEN];
	int clock_hours;
	int clock_minutes;
	uint32_t update_count;
} display_engine_state_t;

void display_engine_init(void);
void display_engine_cycle_screen(void);
void display_engine_set_ptt_active(bool active);
void display_engine_update_telemetry(const sensor_packet_t *packet,
				     const char *activity,
				     const char *exertion);
void display_engine_set_spo2(uint8_t spo2);
void display_engine_set_time(int hours, int minutes);
ui_screen_t display_engine_current_screen(void);
const char *display_engine_screen_name(ui_screen_t screen);
void display_engine_render_ascii(char *out_buffer, size_t max_len);

#endif /* DISPLAY_ENGINE_H */
```

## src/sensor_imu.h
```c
/*
 * KINETIQ firmware - IMU sensor wrapper (BMI270 on I2C0, dual-mode).
 *
 * Hardware mode: Bosch BMI270 via the Zephyr sensor API (polled fetch at
 * 100 Hz, DT node label "bmi270"). Any init/fetch failure arms the
 * synthetic fallback generator so telemetry never stalls.
 * Fallback/host mode: byte-equivalent port of the main.c synthetic gait
 * waveform (60 s rest-walk-run ramp), libc-only.
 */

#ifndef SENSOR_IMU_H
#define SENSOR_IMU_H

#include <stdbool.h>
#include <stdint.h>

#define SENSOR_IMU_SAMPLE_HZ 100

int sensor_imu_init(void);
int sensor_imu_fetch(float accel_m_s2[3], float gyro_rad_s[3]);
bool sensor_imu_is_hardware_active(void);
bool sensor_imu_fallback_active(void);

#endif /* SENSOR_IMU_H */
```

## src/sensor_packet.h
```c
/*
 * KINETIQ firmware - shared sensor packet definition.
 *
 * Single source of truth for sensor_packet_t, included by both the
 * application (main.c) and the activity engine. Field layout is fixed
 * by the infer/comm telemetry path and must not change.
 */
#ifndef SENSOR_PACKET_H
#define SENSOR_PACKET_H

#include <stdint.h>

typedef struct {
	int64_t timestamp_ms;
	float accel_x, accel_y, accel_z;
	float gyro_x, gyro_y, gyro_z;
	uint16_t ppg_red;
	uint32_t ppg_ir;
	uint16_t heart_rate;
	uint32_t steps;
	uint8_t quality;   /* 0 = POOR, 1 = GOOD */
	const char *activity;   /* REST / WALK / RUN */
	const char *exertion;   /* REST / LIGHT / MODERATE / HIGH */
} sensor_packet_t;

#endif /* SENSOR_PACKET_H */
```
